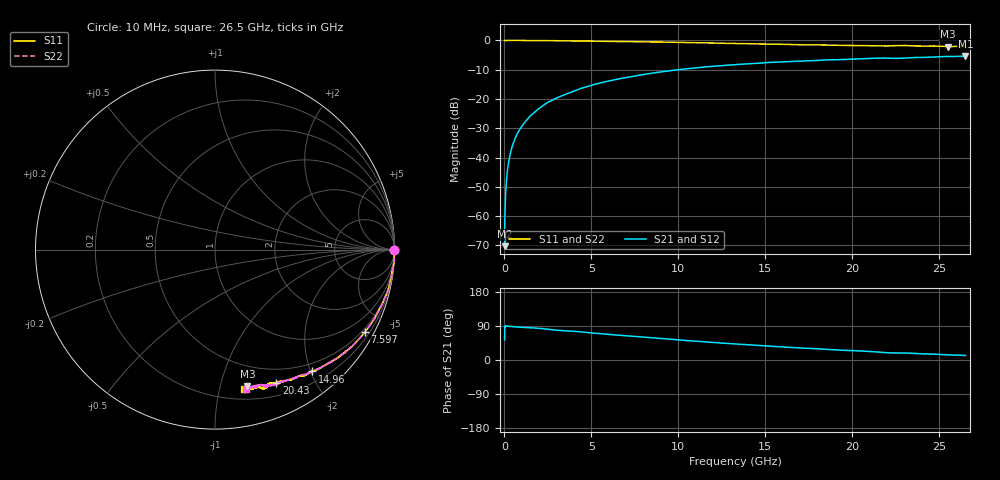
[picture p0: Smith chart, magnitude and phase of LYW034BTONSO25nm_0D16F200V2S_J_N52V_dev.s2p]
!Keysight Technologies,N5222B,MY61253708,A.15.00.15
!Date: Wednesday, June 19, 2024 09:08:22
!Correction: S11(C  2-Port  )
!S21(C  2-Port  )
!S12(C  2-Port  )
!S22(C  2-Port  )
!S2P File: Measurements: S11, S21, S12, S22:
# Hz S  RI  R 50
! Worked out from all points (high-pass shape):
!   2651 points, 10 MHz to 26.5 GHz, reference 50 ohm
!   highest |S21| = -5.32 dB at 26.5 GHz (marker M1); lowest = -70.2 dB at 10 MHz (marker M2)
!   |S21| within 3 dB of the highest: 13.12 GHz to end of sweep
!   lowest |S11| = -2.1 dB at 25.5 GHz (marker M3), VSWR 8.20, Z = 15.5 - j60.9 ohm
!   |S11| at or under -10 dB: nowhere
!   |S22| runs from -2.1 to 0.0 dB; largest |S21 - S12| = 0.0075
!   S11 on the Smith chart (normalised r, x): 10 MHz: open; 7.597 GHz: 0.38, -3.86; 14.96 GHz: 0.37, -2.02; 20.43 GHz: 0.34, -1.51; 26.5 GHz: 0.28, -1.19
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1e7  0.9988 -0.00222  0.000184 0.000246  -7.17e-06 0.000422  0.9987 -0.00105
1.599434e8  0.9998 -0.0118  5.74e-05 0.00556  6.8e-05 0.00559  0.9996 -0.0111
1.999283e8  1 -0.0142  8.15e-05 0.00693  0.000113 0.00697  0.9996 -0.0134
2.599057e8  0.9994 -0.0184  0.00016 0.00902  0.000183 0.00908  0.9994 -0.0176
3.598679e8  0.9993 -0.0257  0.000332 0.0124  0.00031 0.0125  0.9992 -0.0248
4.898189e8  0.9989 -0.0344  0.000587 0.0169  0.000538 0.0171  0.9988 -0.0333
6.497585e8  0.9983 -0.0451  0.00101 0.0224  0.00102 0.0226  0.9983 -0.0441
8.396868e8  0.9977 -0.058  0.00166 0.0288  0.00165 0.029  0.9978 -0.0576
1.459453e9  0.9898 -0.1018  0.0041 0.0504  0.00415 0.0506  0.9922 -0.0978
2.339121e9  0.9799 -0.1574  0.0112 0.0813  0.0113 0.0819  0.9812 -0.1578
3.148815e9  0.9678 -0.2106  0.0224 0.1063  0.0226 0.107  0.9689 -0.2099
4.428332e9  0.9376 -0.2888  0.042 0.1468  0.0424 0.1477  0.9392 -0.2863
5.827804e9  0.8976 -0.3661  0.0734 0.1839  0.0745 0.1849  0.8994 -0.3662
7.597136e9  0.8354 -0.4599  0.1187 0.2208  0.1202 0.2216  0.8397 -0.4533
8.846664e9  0.7892 -0.5114  0.1547 0.2412  0.1562 0.2419  0.7903 -0.5102
1.3255e10  0.6078 -0.6471  0.2853 0.2605  0.2875 0.2604  0.6108 -0.646
1.496435e10  0.5402 -0.679  0.3296 0.254  0.3325 0.2535  0.541 -0.6776
1.767333e10  0.4327 -0.7205  0.3907 0.2274  0.394 0.226  0.443 -0.7183
2.043229e10  0.3424 -0.7408  0.4424 0.1966  0.4455 0.1941  0.3575 -0.7425
2.209166e10  0.2986 -0.7477  0.4707 0.1617  0.4724 0.1595  0.2924 -0.7538
2.550038e10  0.1809 -0.7614  0.5174 0.123  0.5189 0.1239  0.2013 -0.7651
2.65e10  0.163 -0.7764  0.5305 0.1123  0.5297 0.1093  0.1754 -0.7751
